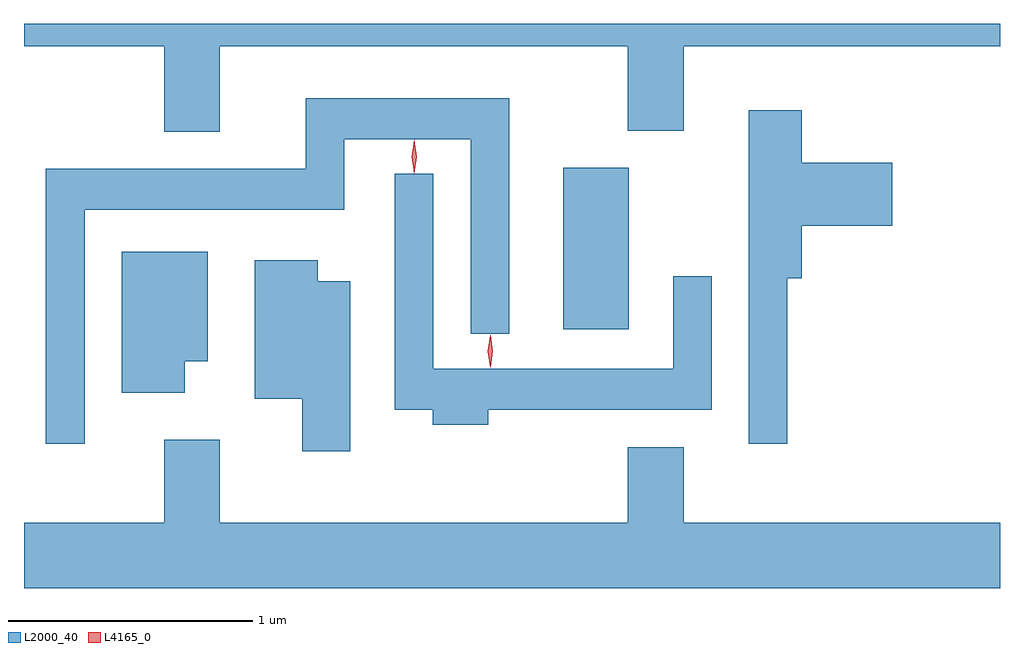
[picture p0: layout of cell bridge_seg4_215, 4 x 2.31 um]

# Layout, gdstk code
import gdstk
lib = gdstk.Library(unit=1e-6, precision=1e-09)
def R(c, l, rs):  # rectangles x0, y0, x1, y1
    for r in rs: c.add(gdstk.rectangle(r[:2], r[2:], *l))
def P(c, l, *ps):  # polygons
    for p in ps: c.add(gdstk.Polygon(p, *l))
L2000_40 = (2000, 40)
L4165_0 = (4165, 0)

bridge_seg4_215 = lib.new_cell('bridge_seg4_215')
R(bridge_seg4_215, L2000_40, [(1018.896,1317.996,1019.164,1318.659)])
P(bridge_seg4_215, L2000_40, [(1017.489,1319.156),(1019.161,1319.156),(1019.161,1318.811),(1019.389,1318.811),(1019.389,1319.156),(1020.686,1319.156),(1020.686,1319.248),(1016.686,1319.248),(1016.686,1319.156),(1017.261,1319.156),(1017.261,1318.806),(1017.489,1318.806)],
  [(1016.934,1318.486),(1017.999,1318.486),(1017.999,1318.776),(1018.516,1318.776),(1018.516,1317.978),(1018.674,1317.978),(1018.674,1318.944),(1017.841,1318.944),(1017.841,1318.654),(1016.776,1318.654),(1016.776,1317.528),(1016.934,1317.528)],
  [(1019.814,1318.206),(1019.874,1318.206),(1019.874,1318.421),(1020.244,1318.421),(1020.244,1318.679),(1019.874,1318.679),(1019.874,1318.894),(1019.656,1318.894),(1019.656,1317.528),(1019.814,1317.528)],
  [(1018.589,1317.666),(1019.504,1317.666),(1019.504,1318.213),(1019.346,1318.213),(1019.346,1317.834),(1018.364,1317.834),(1018.364,1318.633),(1018.206,1318.633),(1018.206,1317.666),(1018.361,1317.666),(1018.361,1317.606),(1018.589,1317.606)],
  [(1017.344,1317.866),(1017.439,1317.866),(1017.439,1318.314),(1017.086,1318.314),(1017.086,1317.736),(1017.344,1317.736)],
  [(1018.024,1318.194),(1017.889,1318.194),(1017.889,1318.279),(1017.631,1318.279),(1017.631,1317.711),(1017.826,1317.711),(1017.826,1317.496),(1018.024,1317.496)],
  [(1020.686,1317.204),(1019.389,1317.204),(1019.389,1317.514),(1019.161,1317.514),(1019.161,1317.204),(1017.489,1317.204),(1017.489,1317.544),(1017.261,1317.544),(1017.261,1317.204),(1016.686,1317.204),(1016.686,1316.936),(1020.686,1316.936)])
P(bridge_seg4_215, L4165_0, [(1018.285,1318.634),(1018.285,1318.635),(1018.275,1318.704),(1018.285,1318.773),(1018.286,1318.774),(1018.286,1318.773),(1018.296,1318.704),(1018.286,1318.635)],
  [(1018.597,1317.84),(1018.597,1317.84),(1018.587,1317.906),(1018.597,1317.973),(1018.597,1317.973),(1018.598,1317.973),(1018.607,1317.906),(1018.598,1317.84)])

lib.write_gds('bridge_seg4_215.gds')
